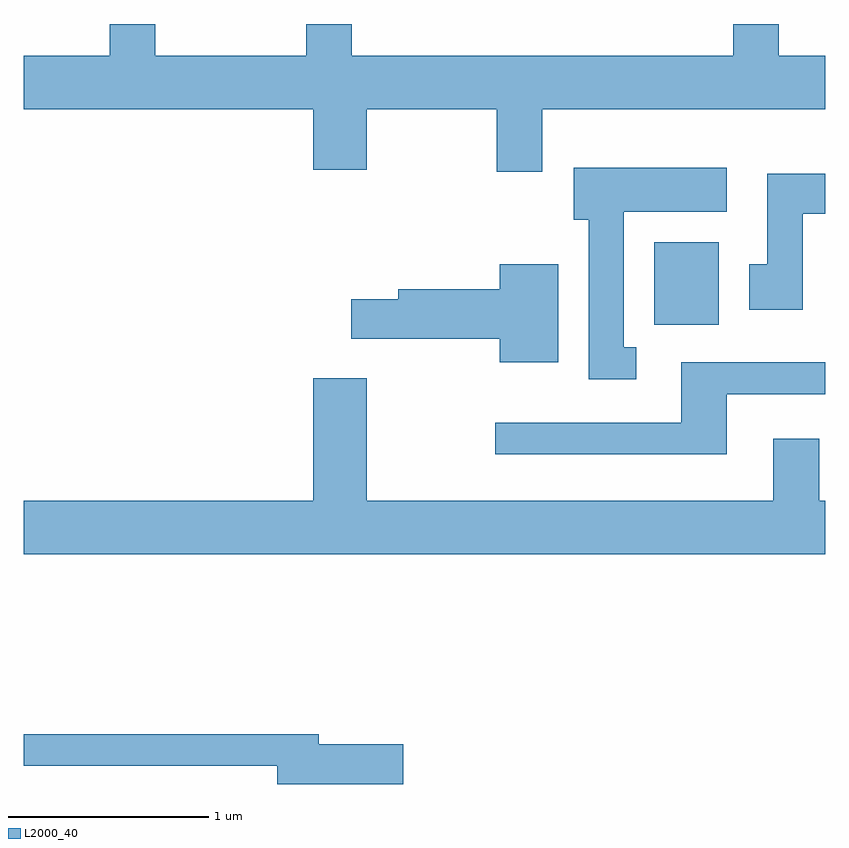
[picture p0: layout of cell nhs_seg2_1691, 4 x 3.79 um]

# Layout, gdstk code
import gdstk
lib = gdstk.Library(unit=1e-6, precision=1e-09)
def R(c, l, rs):  # rectangles x0, y0, x1, y1
    for r in rs: c.add(gdstk.rectangle(r[:2], r[2:], *l))
def P(c, l, *ps):  # polygons
    for p in ps: c.add(gdstk.Polygon(p, *l))
L2000_40 = (2000, 40)

nhs_seg2_1691 = lib.new_cell('nhs_seg2_1691')
R(nhs_seg2_1691, L2000_40, [(236.756,1098.301,237.079,1098.714)])
P(nhs_seg2_1691, L2000_40, [(236.199,1099.376),(237.611,1099.376),(237.611,1099.644),(237.379,1099.644),(237.379,1099.802),(237.151,1099.802),(237.151,1099.644),(235.249,1099.644),(235.249,1099.802),(235.021,1099.802),(235.021,1099.644),(234.269,1099.644),(234.269,1099.802),(234.041,1099.802),(234.041,1099.644),(233.611,1099.644),(233.611,1099.376),(235.056,1099.376),(235.056,1099.076),(235.324,1099.076),(235.324,1099.376),(235.971,1099.376),(235.971,1099.066),(236.199,1099.066)],
  [(236.668,1098.189),(236.604,1098.189),(236.604,1098.866),(237.119,1098.866),(237.119,1099.084),(236.356,1099.084),(236.356,1098.826),(236.431,1098.826),(236.431,1098.031),(236.668,1098.031)],
  [(237.499,1098.856),(237.611,1098.856),(237.611,1099.054),(237.321,1099.054),(237.321,1098.604),(237.231,1098.604),(237.231,1098.376),(237.499,1098.376)],
  [(236.279,1098.604),(235.986,1098.604),(235.986,1098.479),(235.481,1098.479),(235.481,1098.429),(235.246,1098.429),(235.246,1098.231),(235.986,1098.231),(235.986,1098.116),(236.279,1098.116)],
  [(237.119,1097.956),(237.611,1097.956),(237.611,1098.114),(236.891,1098.114),(236.891,1097.814),(235.963,1097.814),(235.963,1097.656),(237.119,1097.656)],
  [(237.611,1097.424),(237.579,1097.424),(237.579,1097.734),(237.351,1097.734),(237.351,1097.424),(235.324,1097.424),(235.324,1098.034),(235.056,1098.034),(235.056,1097.424),(233.611,1097.424),(233.611,1097.156),(237.611,1097.156)],
  [(235.504,1096.209),(235.084,1096.209),(235.084,1096.259),(233.611,1096.259),(233.611,1096.101),(234.876,1096.101),(234.876,1096.011),(235.504,1096.011)])

lib.write_gds('nhs_seg2_1691.gds')
